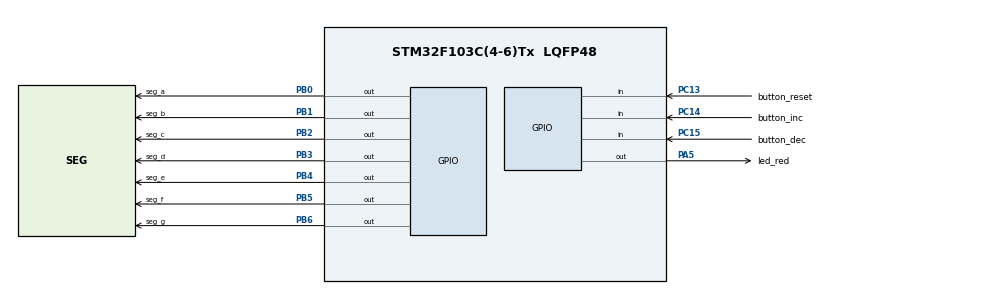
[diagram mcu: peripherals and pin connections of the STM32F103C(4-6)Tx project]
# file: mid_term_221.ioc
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Mcu.Family=STM32F1
Mcu.Name=STM32F103C(4-6)Tx
Mcu.Package=LQFP48
NVIC.PriorityGroup=NVIC_PRIORITYGROUP_4
NVIC.TIM2_IRQn=true\:0\:0\:false\:false\:true\:true\:true
PA5.GPIO_Label=led_red
PA5.Signal=GPIO_Output
PB0.GPIO_Label=seg_a
PB0.Signal=GPIO_Output
PB1.GPIO_Label=seg_b
PB1.Signal=GPIO_Output
PB2.GPIO_Label=seg_c
PB2.Signal=GPIO_Output
PB3.GPIO_Label=seg_d
PB3.Signal=GPIO_Output
PB4.GPIO_Label=seg_e
PB4.Signal=GPIO_Output
PB5.GPIO_Label=seg_f
PB5.Signal=GPIO_Output
PB6.GPIO_Label=seg_g
PB6.Signal=GPIO_Output
PC13-TAMPER-RTC.GPIO_Label=button_reset
PC13-TAMPER-RTC.GPIO_PuPd=GPIO_PULLUP
PC13-TAMPER-RTC.Signal=GPIO_Input
PC14-OSC32_IN.GPIO_Label=button_inc
PC14-OSC32_IN.GPIO_PuPd=GPIO_PULLUP
PC14-OSC32_IN.Signal=GPIO_Input
PC15-OSC32_OUT.GPIO_Label=button_dec
PC15-OSC32_OUT.GPIO_PuPd=GPIO_PULLUP
PC15-OSC32_OUT.Signal=GPIO_Input
ProjectManager.HeapSize=0x200
ProjectManager.StackSize=0x400
ProjectManager.TargetToolchain=STM32CubeIDE
RCC.APB1Freq_Value=8000000
RCC.APB2Freq_Value=8000000
TIM2.Period=10 - 1
TIM2.Prescaler=8000 - 1
VP_SYS_VS_ND.Mode=No_Debug
VP_TIM2_VS_ClockSourceINT.Mode=Internal
board=custom

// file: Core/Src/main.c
/* USER CODE BEGIN Header */
/**
  ******************************************************************************
  * @file           : main.c
  * @brief          : Main program body
  ******************************************************************************
  * @attention
  *
  * <h2><center>&copy; Copyright (c) 2022 STMicroelectronics.
  * All rights reserved.</center></h2>
  *
  * This software component is licensed by ST under BSD 3-Clause license,
  * the "License"; You may not use this file except in compliance with the
  * License. You may obtain a copy of the License at:
  *                        opensource.org/licenses/BSD-3-Clause
  *
  ******************************************************************************
  */
/* USER CODE END Header */
#include "main.h"

/* USER CODE BEGIN Includes */
#include"software_timer.h"
#include"button.h"
#include "fsm_auto_counter.h"
#include "fsm_manual_counter.h"
/* USER CODE END Includes */

TIM_HandleTypeDef htim2;

void SystemClock_Config(void);
static void MX_GPIO_Init(void);
static void MX_TIM2_Init(void);
/* USER CODE BEGIN PFP */

//void display_7SEG_led(int index);

/* USER CODE END PFP */

int main(void)
{

  /* MCU Configuration--------------------------------------------------------*/

  /* Reset of all peripherals, Initializes the Flash interface and the Systick. */
  HAL_Init();

  /* Configure the system clock */
  SystemClock_Config();

  /* Initialize all configured peripherals */
  MX_GPIO_Init();
  MX_TIM2_Init();
  /* USER CODE BEGIN 2 */
  HAL_TIM_Base_Start_IT(&htim2);
  /* USER CODE END 2 */

  /* Infinite loop */
  /* USER CODE BEGIN WHILE */
  status = init_counter;
  Set_timer(100, 1);
  while (1)
  {
	  /*
	  if(isButtonPressed(0) == 1)
	  {
		  HAL_GPIO_TogglePin(led_red_GPIO_Port, led_red_Pin);
	  }
	  */

	  if(timer_flag[1] == 1)
	  {
		  Set_timer(100, 1);
		  HAL_GPIO_TogglePin(led_red_GPIO_Port, led_red_Pin);
	  }
	  fsm_auto_counter_run();
	  fsm_manual_counter_run();
    /* USER CODE END WHILE */

  }
}

void SystemClock_Config(void)
{
  RCC_OscInitTypeDef RCC_OscInitStruct = {0};
  RCC_ClkInitTypeDef RCC_ClkInitStruct = {0};

  /** Initializes the RCC Oscillators according to the specified parameters
  * in the RCC_OscInitTypeDef structure.
  */
  RCC_OscInitStruct.OscillatorType = RCC_OSCILLATORTYPE_HSI;
  RCC_OscInitStruct.HSIState = RCC_HSI_ON;
  RCC_OscInitStruct.HSICalibrationValue = RCC_HSICALIBRATION_DEFAULT;
  RCC_OscInitStruct.PLL.PLLState = RCC_PLL_NONE;
  if (HAL_RCC_OscConfig(&RCC_OscInitStruct) != HAL_OK)
  {
    Error_Handler();
  }
  /** Initializes the CPU, AHB and APB buses clocks
  */
  RCC_ClkInitStruct.ClockType = RCC_CLOCKTYPE_HCLK|RCC_CLOCKTYPE_SYSCLK
                              |RCC_CLOCKTYPE_PCLK1|RCC_CLOCKTYPE_PCLK2;
  RCC_ClkInitStruct.SYSCLKSource = RCC_SYSCLKSOURCE_HSI;
  RCC_ClkInitStruct.AHBCLKDivider = RCC_SYSCLK_DIV1;
  RCC_ClkInitStruct.APB1CLKDivider = RCC_HCLK_DIV1;
  RCC_ClkInitStruct.APB2CLKDivider = RCC_HCLK_DIV1;

  if (HAL_RCC_ClockConfig(&RCC_ClkInitStruct, FLASH_LATENCY_0) != HAL_OK)
  {
    Error_Handler();
  }
}

static void MX_TIM2_Init(void)
{

  TIM_ClockConfigTypeDef sClockSourceConfig = {0};
  TIM_MasterConfigTypeDef sMasterConfig = {0};

  htim2.Instance = TIM2;
  htim2.Init.Prescaler = 8000 - 1;
  htim2.Init.CounterMode = TIM_COUNTERMODE_UP;
  htim2.Init.Period = 10 - 1;
  htim2.Init.ClockDivision = TIM_CLOCKDIVISION_DIV1;
  htim2.Init.AutoReloadPreload = TIM_AUTORELOAD_PRELOAD_DISABLE;
  if (HAL_TIM_Base_Init(&htim2) != HAL_OK)
  {
    Error_Handler();
  }
  sClockSourceConfig.ClockSource = TIM_CLOCKSOURCE_INTERNAL;
  if (HAL_TIM_ConfigClockSource(&htim2, &sClockSourceConfig) != HAL_OK)
  {
    Error_Handler();
  }
  sMasterConfig.MasterOutputTrigger = TIM_TRGO_RESET;
  sMasterConfig.MasterSlaveMode = TIM_MASTERSLAVEMODE_DISABLE;
  if (HAL_TIMEx_MasterConfigSynchronization(&htim2, &sMasterConfig) != HAL_OK)
  {
    Error_Handler();
  }

}

static void MX_GPIO_Init(void)
{
  GPIO_InitTypeDef GPIO_InitStruct = {0};

  /* GPIO Ports Clock Enable */
  __HAL_RCC_GPIOC_CLK_ENABLE();
  __HAL_RCC_GPIOA_CLK_ENABLE();
  __HAL_RCC_GPIOB_CLK_ENABLE();

  /*Configure GPIO pin Output Level */
  HAL_GPIO_WritePin(led_red_GPIO_Port, led_red_Pin, GPIO_PIN_RESET);

  /*Configure GPIO pin Output Level */
  HAL_GPIO_WritePin(GPIOB, seg_a_Pin|seg_b_Pin|seg_c_Pin|seg_d_Pin
                          |seg_e_Pin|seg_f_Pin|seg_g_Pin, GPIO_PIN_RESET);

  /*Configure GPIO pins : button_reset_Pin button_inc_Pin button_dec_Pin */
  GPIO_InitStruct.Pin = button_reset_Pin|button_inc_Pin|button_dec_Pin;
  GPIO_InitStruct.Mode = GPIO_MODE_INPUT;
  GPIO_InitStruct.Pull = GPIO_PULLUP;
  HAL_GPIO_Init(GPIOC, &GPIO_InitStruct);

  /*Configure GPIO pin : led_red_Pin */
  GPIO_InitStruct.Pin = led_red_Pin;
  GPIO_InitStruct.Mode = GPIO_MODE_OUTPUT_PP;
  GPIO_InitStruct.Pull = GPIO_NOPULL;
  GPIO_InitStruct.Speed = GPIO_SPEED_FREQ_LOW;
  HAL_GPIO_Init(led_red_GPIO_Port, &GPIO_InitStruct);

  /*Configure GPIO pins : seg_a_Pin seg_b_Pin seg_c_Pin seg_d_Pin
                           seg_e_Pin seg_f_Pin seg_g_Pin */
  GPIO_InitStruct.Pin = seg_a_Pin|seg_b_Pin|seg_c_Pin|seg_d_Pin
                          |seg_e_Pin|seg_f_Pin|seg_g_Pin;
  GPIO_InitStruct.Mode = GPIO_MODE_OUTPUT_PP;
  GPIO_InitStruct.Pull = GPIO_NOPULL;
  GPIO_InitStruct.Speed = GPIO_SPEED_FREQ_LOW;
  HAL_GPIO_Init(GPIOB, &GPIO_InitStruct);

}

/* USER CODE BEGIN 4 */
void HAL_TIM_PeriodElapsedCallback(TIM_HandleTypeDef *htim)
{
	Run_timer();
	getKeyInput();
}

/*
void display_7SEG_led(int index)
{
	switch (index) {
		case 0:
			HAL_GPIO_WritePin(seg_a_GPIO_Port, seg_a_Pin, GPIO_PIN_RESET);
			HAL_GPIO_WritePin(seg_b_GPIO_Port, seg_b_Pin, GPIO_PIN_RESET);
			HAL_GPIO_WritePin(seg_c_GPIO_Port, seg_c_Pin, GPIO_PIN_RESET);
			HAL_GPIO_WritePin(seg_d_GPIO_Port, seg_d_Pin, GPIO_PIN_RESET);
			HAL_GPIO_WritePin(seg_e_GPIO_Port, seg_e_Pin, GPIO_PIN_RESET);
			HAL_GPIO_WritePin(seg_f_GPIO_Port, seg_f_Pin, GPIO_PIN_RESET);
			HAL_GPIO_WritePin(seg_g_GPIO_Port, seg_g_Pin, GPIO_PIN_SET);
			break;
		case 1:
			HAL_GPIO_WritePin(seg_a_GPIO_Port, seg_a_Pin, GPIO_PIN_SET);
			HAL_GPIO_WritePin(seg_b_GPIO_Port, seg_b_Pin, GPIO_PIN_RESET);
			HAL_GPIO_WritePin(seg_c_GPIO_Port, seg_c_Pin, GPIO_PIN_RESET);
			HAL_GPIO_WritePin(seg_d_GPIO_Port, seg_d_Pin, GPIO_PIN_SET);
			HAL_GPIO_WritePin(seg_e_GPIO_Port, seg_e_Pin, GPIO_PIN_SET);
			HAL_GPIO_WritePin(seg_f_GPIO_Port, seg_f_Pin, GPIO_PIN_SET);
			HAL_GPIO_WritePin(seg_g_GPIO_Port, seg_g_Pin, GPIO_PIN_SET);
			break;
		case 2:
			HAL_GPIO_WritePin(seg_a_GPIO_Port, seg_a_Pin, GPIO_PIN_RESET);
			HAL_GPIO_WritePin(seg_b_GPIO_Port, seg_b_Pin, GPIO_PIN_RESET);
			HAL_GPIO_WritePin(seg_c_GPIO_Port, seg_c_Pin, GPIO_PIN_SET);
			HAL_GPIO_WritePin(seg_d_GPIO_Port, seg_d_Pin, GPIO_PIN_RESET);
			HAL_GPIO_WritePin(seg_e_GPIO_Port, seg_e_Pin, GPIO_PIN_RESET);
			HAL_GPIO_WritePin(seg_f_GPIO_Port, seg_f_Pin, GPIO_PIN_SET);
			HAL_GPIO_WritePin(seg_g_GPIO_Port, seg_g_Pin, GPIO_PIN_RESET);
			break;
		case 3:
			HAL_GPIO_WritePin(seg_a_GPIO_Port, seg_a_Pin, GPIO_PIN_RESET);
			HAL_GPIO_WritePin(seg_b_GPIO_Port, seg_b_Pin, GPIO_PIN_RESET);
			HAL_GPIO_WritePin(seg_c_GPIO_Port, seg_c_Pin, GPIO_PIN_RESET);
			HAL_GPIO_WritePin(seg_d_GPIO_Port, seg_d_Pin, GPIO_PIN_RESET);
			HAL_GPIO_WritePin(seg_e_GPIO_Port, seg_e_Pin, GPIO_PIN_SET);
			HAL_GPIO_WritePin(seg_f_GPIO_Port, seg_f_Pin, GPIO_PIN_SET);
			HAL_GPIO_WritePin(seg_g_GPIO_Port, seg_g_Pin, GPIO_PIN_RESET);
			break;
		case 4:
			HAL_GPIO_WritePin(seg_a_GPIO_Port, seg_a_Pin, GPIO_PIN_SET);
			HAL_GPIO_WritePin(seg_b_GPIO_Port, seg_b_Pin, GPIO_PIN_RESET);
			HAL_GPIO_WritePin(seg_c_GPIO_Port, seg_c_Pin, GPIO_PIN_RESET);
			HAL_GPIO_WritePin(seg_d_GPIO_Port, seg_d_Pin, GPIO_PIN_SET);
			HAL_GPIO_WritePin(seg_e_GPIO_Port, seg_e_Pin, GPIO_PIN_SET);
			HAL_GPIO_WritePin(seg_f_GPIO_Port, seg_f_Pin, GPIO_PIN_RESET);
			HAL_GPIO_WritePin(seg_g_GPIO_Port, seg_g_Pin, GPIO_PIN_RESET);
			break;
		case 5:
			HAL_GPIO_WritePin(seg_a_GPIO_Port, seg_a_Pin, GPIO_PIN_RESET);
			HAL_GPIO_WritePin(seg_b_GPIO_Port, seg_b_Pin, GPIO_PIN_SET);
			HAL_GPIO_WritePin(seg_c_GPIO_Port, seg_c_Pin, GPIO_PIN_RESET);
			HAL_GPIO_WritePin(seg_d_GPIO_Port, seg_d_Pin, GPIO_PIN_RESET);
			HAL_GPIO_WritePin(seg_e_GPIO_Port, seg_e_Pin, GPIO_PIN_SET);
			HAL_GPIO_WritePin(seg_f_GPIO_Port, seg_f_Pin, GPIO_PIN_RESET);
			HAL_GPIO_WritePin(seg_g_GPIO_Port, seg_g_Pin, GPIO_PIN_RESET);
			break;
		case 6:
			HAL_GPIO_WritePin(seg_a_GPIO_Port, seg_a_Pin, GPIO_PIN_RESET);
			HAL_GPIO_WritePin(seg_b_GPIO_Port, seg_b_Pin, GPIO_PIN_SET);
			HAL_GPIO_WritePin(seg_c_GPIO_Port, seg_c_Pin, GPIO_PIN_RESET);
			HAL_GPIO_WritePin(seg_d_GPIO_Port, seg_d_Pin, GPIO_PIN_RESET);
			HAL_GPIO_WritePin(seg_e_GPIO_Port, seg_e_Pin, GPIO_PIN_RESET);
			HAL_GPIO_WritePin(seg_f_GPIO_Port, seg_f_Pin, GPIO_PIN_RESET);
			HAL_GPIO_WritePin(seg_g_GPIO_Port, seg_g_Pin, GPIO_PIN_RESET);
			break;
		case 7:
			HAL_GPIO_WritePin(seg_a_GPIO_Port, seg_a_Pin, GPIO_PIN_RESET);
			HAL_GPIO_WritePin(seg_b_GPIO_Port, seg_b_Pin, GPIO_PIN_RESET);
			HAL_GPIO_WritePin(seg_c_GPIO_Port, seg_c_Pin, GPIO_PIN_RESET);
			HAL_GPIO_WritePin(seg_d_GPIO_Port, seg_d_Pin, GPIO_PIN_SET);
			HAL_GPIO_WritePin(seg_e_GPIO_Port, seg_e_Pin, GPIO_PIN_SET);
			HAL_GPIO_WritePin(seg_f_GPIO_Port, seg_f_Pin, GPIO_PIN_SET);
			HAL_GPIO_WritePin(seg_g_GPIO_Port, seg_g_Pin, GPIO_PIN_SET);
			break;
		case 8:
			HAL_GPIO_WritePin(seg_a_GPIO_Port, seg_a_Pin, GPIO_PIN_RESET);
			HAL_GPIO_WritePin(seg_b_GPIO_Port, seg_b_Pin, GPIO_PIN_RESET);
			HAL_GPIO_WritePin(seg_c_GPIO_Port, seg_c_Pin, GPIO_PIN_RESET);
			HAL_GPIO_WritePin(seg_d_GPIO_Port, seg_d_Pin, GPIO_PIN_RESET);
			HAL_GPIO_WritePin(seg_e_GPIO_Port, seg_e_Pin, GPIO_PIN_RESET);
			HAL_GPIO_WritePin(seg_f_GPIO_Port, seg_f_Pin, GPIO_PIN_RESET);
			HAL_GPIO_WritePin(seg_g_GPIO_Port, seg_g_Pin, GPIO_PIN_RESET);
			break;
		case 9:
			HAL_GPIO_WritePin(seg_a_GPIO_Port, seg_a_Pin, GPIO_PIN_RESET);
			HAL_GPIO_WritePin(seg_b_GPIO_Port, seg_b_Pin, GPIO_PIN_RESET);
			HAL_GPIO_WritePin(seg_c_GPIO_Port, seg_c_Pin, GPIO_PIN_RESET);
			HAL_GPIO_WritePin(seg_d_GPIO_Port, seg_d_Pin, GPIO_PIN_RESET);
			HAL_GPIO_WritePin(seg_e_GPIO_Port, seg_e_Pin, GPIO_PIN_SET);
			HAL_GPIO_WritePin(seg_f_GPIO_Port, seg_f_Pin, GPIO_PIN_RESET);
			HAL_GPIO_WritePin(seg_g_GPIO_Port, seg_g_Pin, GPIO_PIN_RESET);
			break;
		default:
			break;
	}

}
*/

/* USER CODE END 4 */

void Error_Handler(void)
{
  __disable_irq();
  while (1)
  {
  }
}

/************************ (C) COPYRIGHT STMicroelectronics *****END OF FILE****/
